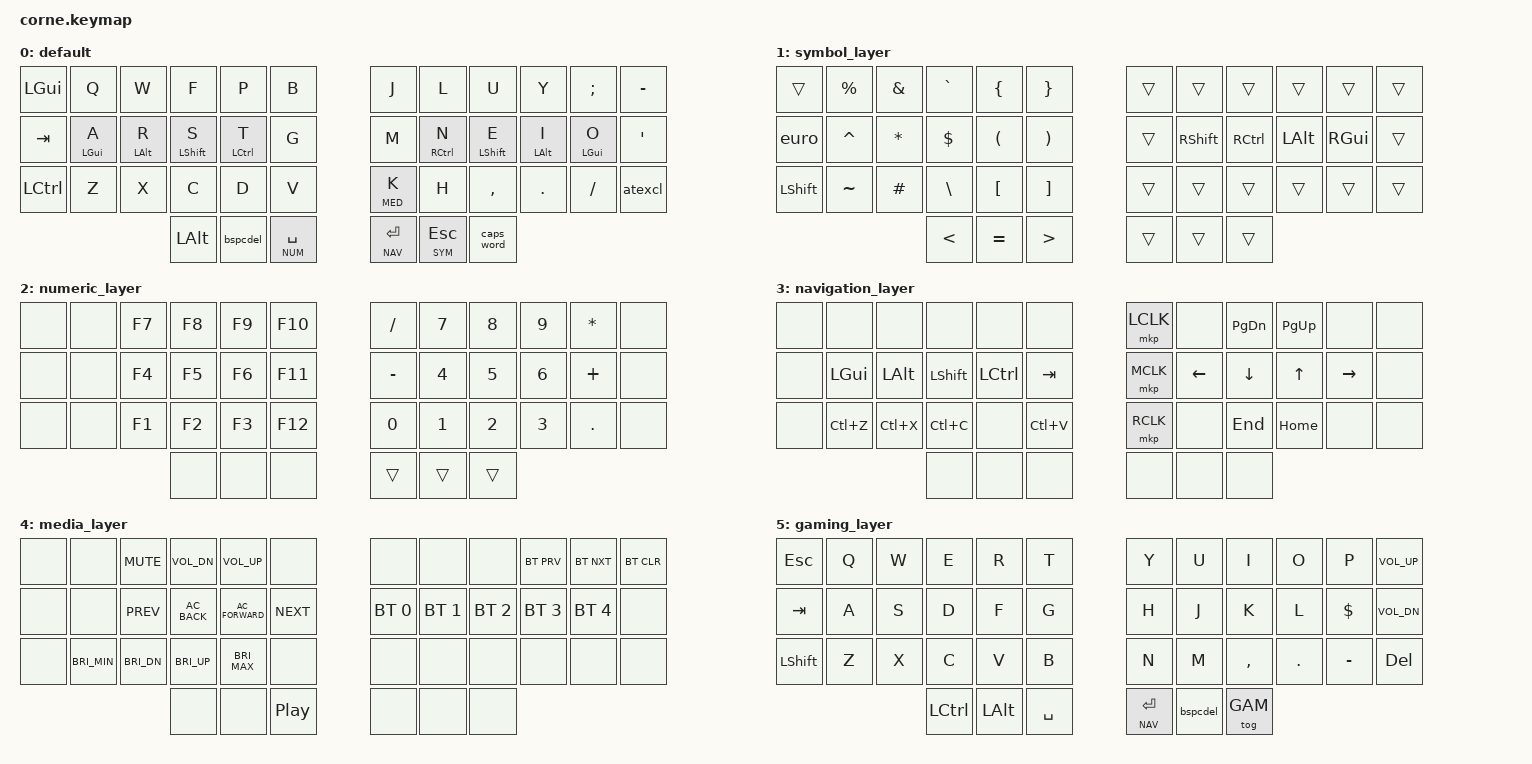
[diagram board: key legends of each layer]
#include <behaviors.dtsi>
#include <dt-bindings/zmk/keys.h>
#include <dt-bindings/zmk/bt.h>
#include <dt-bindings/zmk/mouse.h>
#include "../zmk-nodefree-config/helper.h"
#include "../zmk-nodefree-config/keypos_def/keypos_42keys.h"                // keyposition helpers
#include "../zmk-nodefree-config/international_chars/french.dtsi"

/* layer and key shortcuts */

#define ___ &trans
#define XXX &none

ZMK_UNICODE_SINGLE(euro, N2, N0, A, C)  // €

#define QUICK_TAP_MS 175

#define KEYS_L LT0 LT1 LT2 LT3 LT4 LT5 LM0 LM1 LM2 LM3 LM4 LM5 LB0 LB1 LB2 LB3 LB4 LB5  // left hand
#define KEYS_R RT0 RT1 RT2 RT3 RT4 RT5 RM0 RM1 RM2 RM3 RM4 RM5 RB0 RB1 RB2 RB3 RB4 RB5  // right hand
#define THUMBS LH2 LH1 LH0 RH0 RH1 RH2                                                  // thumbs

#define DEF 0
#define SYM 1
#define NUM 2
#define NAV 3
#define MED 4
#define GAM 5

&lt {  // layer-tap config
    flavor = "balanced";
    tapping-term-ms = <200>;
    quick-tap-ms = <QUICK_TAP_MS>;
};

/ {
    behaviors {
        hml: home_row_left {
            compatible = "zmk,behavior-hold-tap";
            #binding-cells = <2>;
            flavor = "balanced";
            tapping-term-ms = <280>;                        // <---[[produces tap if held longer than tapping-term-ms]]
            quick-tap-ms = <QUICK_TAP_MS>;
            bindings = <&kp>, <&kp>;

            hold-trigger-key-positions = <KEYS_R THUMBS>;
            hold-trigger-on-release;
        };

        hmr: home_row_right {
            compatible = "zmk,behavior-hold-tap";
            #binding-cells = <2>;
            flavor = "balanced";
            tapping-term-ms = <280>;
            quick-tap-ms = <QUICK_TAP_MS>;
            bindings = <&kp>, <&kp>;

            hold-trigger-key-positions = <KEYS_L THUMBS>;
            hold-trigger-on-release;
        };

        shiftlock: shift_lock {
            compatible = "zmk,behavior-tap-dance";
            label = "SHIFT_LOCK";
            #binding-cells = <0>;
            bindings = <&kp LSHFT>, <&kp CAPS>;
        };

        combos {
            compatible = "zmk,combos";
            combo_esc {
                timeout-ms = <50>;
                key-positions = <LH2 LH1 LH0>;
                bindings = <&tog GAM>;
            };
        };

        atexcl: at_exclamation {
            compatible = "zmk,behavior-mod-morph";
            #binding-cells = <0>;
            bindings = <&kp AT>, <&kp EXCL>;
            mods = <(MOD_LSFT|MOD_RSFT)>;
        };
        bspcdel: bspc_del {
            compatible = "zmk,behavior-mod-morph";
            #binding-cells = <0>;
            bindings = <&kp BSPC>, <&kp DEL>;
            mods = <(MOD_LSFT|MOD_RSFT)>;
        };
    };

    keymap {
        compatible = "zmk,keymap";        

        default {
            bindings = <
&kp LGUI   &kp Q        &kp W        &kp F         &kp P          &kp B            &kp J        &kp L         &kp U         &kp Y        &kp SEMI     &kp MINUS
&kp TAB    &hml LGUI A  &hml LALT R  &hml LSHFT S  &hml LCTRL T   &kp G            &kp M        &hmr RCTRL N  &hmr LSHFT E  &hmr LALT I  &hmr LGUI O  &kp APOS
&kp LCTRL  &kp Z        &kp X        &kp C         &kp D          &kp V            &lt MED K    &kp H         &kp COMMA     &kp DOT      &kp FSLH     &atexcl
                                     &kp LALT      &bspcdel       &lt NUM SPACE    &lt NAV RET  &lt SYM ESC   &caps_word
            >;
        };

        symbol_layer {
            bindings = <
&trans    &kp PRCNT  &kp AMPS  &kp GRAVE  &kp LBRC   &kp RBRC     &trans  &trans     &trans     &trans    &trans    &trans
&euro     &kp CARET  &kp STAR  &kp DLLR   &kp LPAR   &kp RPAR     &trans  &kp RSHFT  &kp RCTRL  &kp LALT  &kp RGUI  &trans
&kp LSHFT &kp TILDE  &kp HASH  &kp BSLH   &kp LBKT   &kp RBKT     &trans  &trans     &trans     &trans    &trans    &trans
                               &kp LT     &kp EQUAL  &kp GT       &trans  &trans     &trans
            >;
        };

        numeric_layer {
            bindings = <
&none   &none   &kp F7  &kp F8  &kp F9  &kp F10    &kp FSLH   &kp N7  &kp N8  &kp N9  &kp STAR  &none 
&none   &none   &kp F4  &kp F5  &kp F6  &kp F11    &kp MINUS  &kp N4  &kp N5  &kp N6  &kp PLUS  &none 
&none   &none   &kp F1  &kp F2  &kp F3  &kp F12    &kp N0     &kp N1  &kp N2  &kp N3  &kp DOT   &none 
                        &none   &none   &none      &trans     &trans  &trans 
            >;
        };

        navigation_layer {
            bindings = <
&none   &none      &none      &none      &none      &none      &mkp LCLK  &none     &kp PG_DN  &kp PG_UP  &none      &none
&none   &kp LGUI   &kp LALT   &kp LSHFT  &kp LCTRL  &kp TAB    &mkp MCLK  &kp LEFT  &kp DOWN   &kp UP     &kp RIGHT  &none 
&none   &kp LC(Z)  &kp LC(X)  &kp LC(C)  &none      &kp LC(V)  &mkp RCLK  &none     &kp END    &kp HOME   &none      &none
                              &none      &none      &none      &none      &none     &none 
            >;
        };
        media_layer {
            bindings = <
&none  &none         &kp C_MUTE     &kp C_VOL_DN  &kp C_VOL_UP     &none         &none         &none         &none         &bt BT_PRV    &bt BT_NXT    &bt BT_CLR
&none  &none         &kp C_PREV     &kp C_AC_BACK &kp C_AC_FORWARD &kp C_NEXT    &bt BT_SEL 0  &bt BT_SEL 1  &bt BT_SEL 2  &bt BT_SEL 3  &bt BT_SEL 4  &none 
&none  &kp C_BRI_MIN &kp C_BRI_DN   &kp C_BRI_UP  &kp C_BRI_MAX    &none         &none         &none         &none         &none         &none         &none 
                                    &none         &none            &kp C_PP      &none         &none         &none 
            >;
        };
        gaming_layer {
            bindings = <
&kp ESC   &kp Q        &kp W        &kp E           &kp R         &kp T          &kp Y      &kp U         &kp I          &kp O        &kp P         &kp C_VOL_UP
&kp TAB   &kp A        &kp S        &kp D           &kp F         &kp G          &kp H      &kp J         &kp K          &kp L        &kp DLLR      &kp C_VOL_DN
&kp LSHFT &kp Z        &kp X        &kp C           &kp V         &kp B          &kp N      &kp M         &kp COMMA      &kp DOT      &kp MINUS     &kp DEL
                                    &kp LCTRL       &kp LALT      &kp SPACE      &lt NAV RET &bspcdel     &tog GAM
            >;
        };
    };  
};
